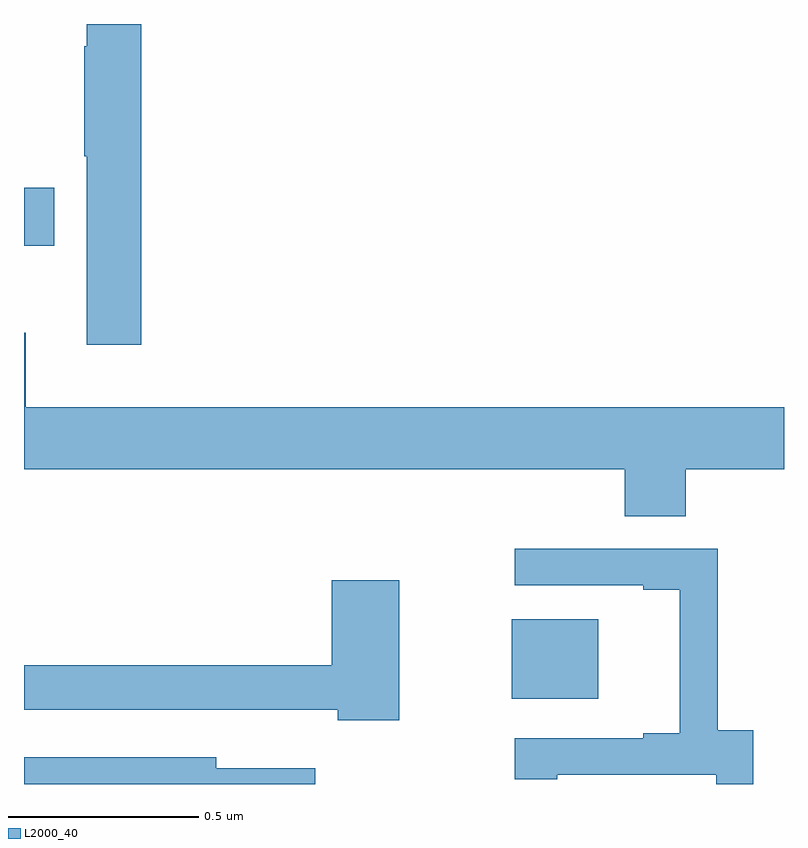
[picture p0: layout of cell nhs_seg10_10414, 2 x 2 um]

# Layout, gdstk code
import gdstk
lib = gdstk.Library(unit=1e-6, precision=1e-09)
def R(c, l, rs):  # rectangles x0, y0, x1, y1
    for r in rs: c.add(gdstk.rectangle(r[:2], r[2:], *l))
def P(c, l, *ps):  # polygons
    for p in ps: c.add(gdstk.Polygon(p, *l))
L2000_40 = (2000, 40)

nhs_seg10_10414 = lib.new_cell('nhs_seg10_10414')
R(nhs_seg10_10414, L2000_40, [(243.284,1287.725,243.511,1287.934), (242,1288.916,242.08,1289.069)])
P(nhs_seg10_10414, L2000_40, [(242.309,1289.5),(242.165,1289.5),(242.165,1289.441),(242.158,1289.441),(242.158,1289.152),(242.165,1289.152),(242.165,1288.656),(242.309,1288.656)],
  [(243.741,1288.328),(244,1288.328),(244,1288.492),(242.005,1288.492),(242.005,1288.687),(242,1288.687),(242,1288.328),(243.581,1288.328),(243.581,1288.204),(243.741,1288.204)],
  [(243.919,1287.641),(243.825,1287.641),(243.825,1288.119),(243.291,1288.119),(243.291,1288.023),(243.629,1288.023),(243.629,1288.011),(243.725,1288.011),(243.725,1287.634),(243.629,1287.634),(243.629,1287.621),(243.291,1287.621),(243.291,1287.513),(243.403,1287.513),(243.403,1287.525),(243.822,1287.525),(243.822,1287.5),(243.919,1287.5)],
  [(242.988,1288.036),(242.81,1288.036),(242.81,1287.812),(242,1287.812),(242,1287.696),(242.602,1287.696),(242.602,1287.695),(242.826,1287.695),(242.826,1287.668),(242.988,1287.668)],
  [(242.767,1287.541),(242.506,1287.541),(242.506,1287.57),(242,1287.57),(242,1287.5),(242.767,1287.5)])

lib.write_gds('nhs_seg10_10414.gds')
